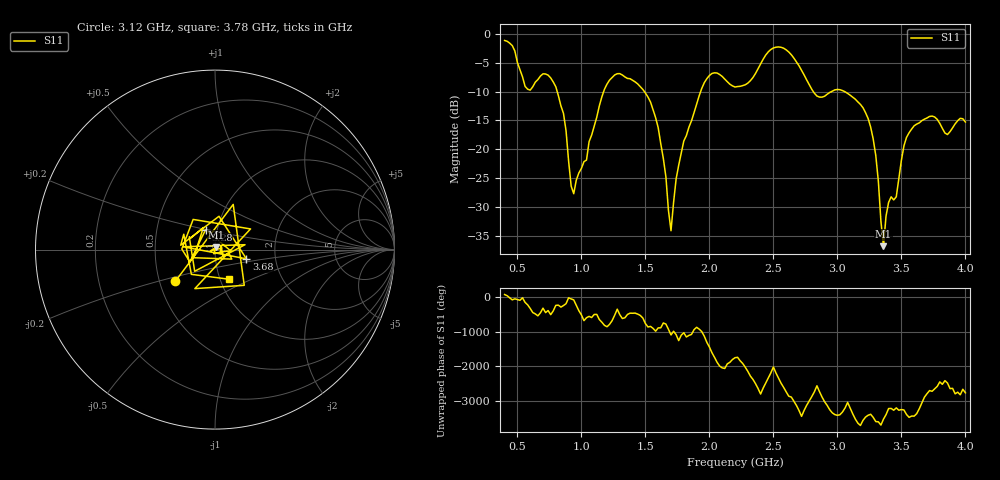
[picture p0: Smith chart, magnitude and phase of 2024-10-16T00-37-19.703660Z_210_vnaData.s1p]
! Created with skrf (http://scikit-rf.org).
# Hz S RI R 50.0
!freq ReS11 ImS11
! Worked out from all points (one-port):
!   181 points, 400 MHz to 4 GHz, reference 50 ohm
!   lowest |S11| = -36.7 dB at 3.36 GHz (marker M1), VSWR 1.03, Z = 50.6 + j1.34 ohm
!   |S11| at or under -10 dB: 810.8 MHz to 1.174 GHz (363.1 MHz wide, 36.6 % of centre); 1.492 GHz to 1.932 GHz (439.7 MHz wide, 25.7 % of centre); 3.056 GHz to end of sweep (the widest 3 of 4)
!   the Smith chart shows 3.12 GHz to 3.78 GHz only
!   S11 on the Smith chart (normalised r, x): 3.12 GHz: 0.60, -0.23; 3.28 GHz: 0.88, +0.20; 3.68 GHz: 1.42, -0.15; 3.78 GHz: 1.10, -0.37
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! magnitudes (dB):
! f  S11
! 400 MHz  -1.2
! 560 MHz  -9.1
! 740 MHz  -7.2
! 860 MHz  -13.8
! 940 MHz  -27.7
! 1.18 GHz  -9.6
! 1.3 GHz  -6.9
! 1.56 GHz  -13.1
! 1.64 GHz  -21.6
! 1.7 GHz  -34.1
! 1.76 GHz  -22.8
! 1.98 GHz  -7.8
! 2.2 GHz  -9.2
! 2.5 GHz  -2.5
! 2.66 GHz  -4.2
! 2.84 GHz  -10.8
! 3.1 GHz  -10.6
! 3.12 GHz  -11.0
! 3.28 GHz  -18.2
! 3.36 GHz  -36.7
! 3.4 GHz  -29.2
! 3.46 GHz  -28.2
! 3.52 GHz  -19.4
! 3.56 GHz  -17.1
! 3.68 GHz  -14.8
! 3.78 GHz  -14.8
! 3.86 GHz  -17.4
! 4 GHz  -15.3
